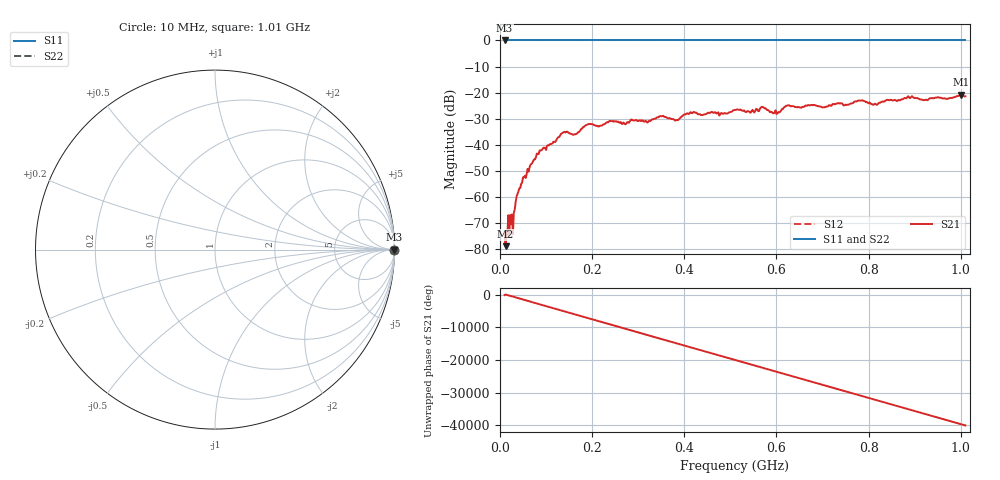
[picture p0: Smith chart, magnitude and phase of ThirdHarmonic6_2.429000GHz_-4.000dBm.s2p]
! 8/17/2025 4:11:36 AM
! C:\ANRITSUVNA\TEMP\TEMP.S2P
! CHANNEL.1
! TR.MEASUREMENT
! RAW.DATA
! RF.CORRECTION.OFF
! AVERAGING.OFF
! IF.BANDWIDTH: 5KHZ
! SWEEPTYPE:  FREQ.SWEEP(Linear)
! Reference Plane Port Info
! PORT:  PORT1  PORT2
! DISTANCE:  0  m  0  m
! TIME:  0  s  0  s
! PHASE.OFFSET:  0  deg.  0  deg.
! LOSS:  0  dB  0  dB
! REF.LOSS:  0  dB  0  dB
! REF.FREQ:  0  Hz  0  Hz
! Power Info
! POWER:  -20  dBm  -20  dBm
! EFF.POWER:  -20  dBm  -20  dBm
! SOURCE.ATTEN:  0  dB  0  dB
! TEST.ATTEN:  0  dB  0  dB
# GHZ S RI R 50.0
! FREQ.GHZ  S11RE  S11IM  S21RE  S21IM  S12RE  S12IM  S22RE  S22IM
!; PortSelection: Port_12
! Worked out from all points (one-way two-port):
!   501 points, 10 MHz to 1.01 GHz, reference 50 ohm
!   highest |S21| = -20.76 dB at 1 GHz (marker M1); lowest = -79.0 dB at 12 MHz (marker M2)
!   lowest |S11| = 0.0 dB at 10 MHz (marker M3)
!   |S11| at or under -10 dB: nowhere
!   |S22| runs from 0.0 to 0.0 dB; largest |S21 - S12| = 1.1
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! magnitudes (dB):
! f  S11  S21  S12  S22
! 10 MHz  0.0  -73.4  0.0  0.0
! 12 MHz  0.0  -79.0  0.0  0.0
! 22 MHz  0.0  -67.0  0.0  0.0
! 24 MHz  0.0  -70.5  0.0  0.0
! 28 MHz  0.0  -74.4  0.0  0.0
! 38 MHz  0.0  -58.9  0.0  0.0
! 50 MHz  0.0  -52.5  0.0  0.0
! 84 MHz  0.0  -43.6  0.0  0.0
! 136 MHz  0.0  -35.5  0.0  0.0
! 162 MHz  0.0  -36.0  0.0  0.0
! 178 MHz  0.0  -33.9  0.0  0.0
! 344 MHz  0.0  -29.5  0.0  0.0
! 384 MHz  0.0  -30.5  0.0  0.0
! 416 MHz  0.0  -27.9  0.0  0.0
! 510 MHz  0.0  -26.7  0.0  0.0
! 570 MHz  0.0  -25.5  0.0  0.0
! 604 MHz  0.0  -27.5  0.0  0.0
! 624 MHz  0.0  -24.9  0.0  0.0
! 678 MHz  0.0  -24.8  0.0  0.0
! 844 MHz  0.0  -22.9  0.0  0.0
! 1 GHz  0.0  -20.8  0.0  0.0
! 1.01 GHz  0.0  -21.4  0.0  0.0
